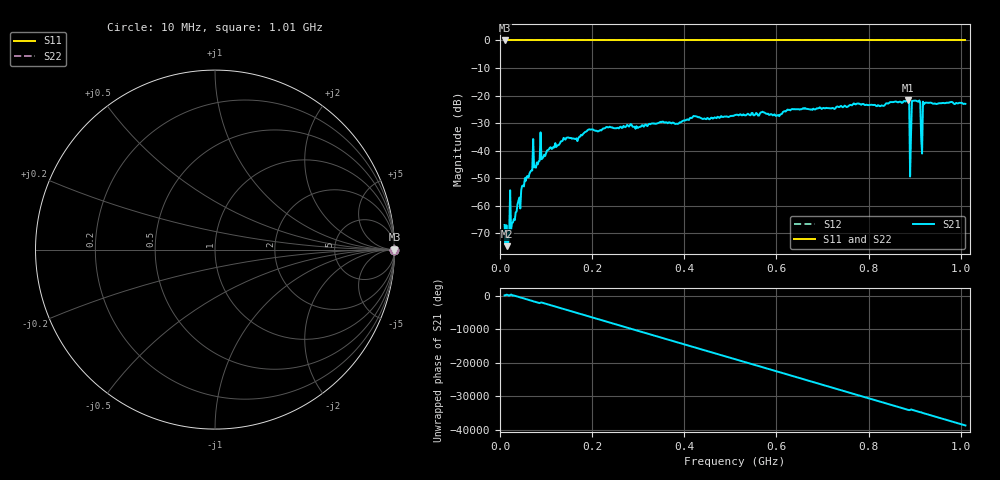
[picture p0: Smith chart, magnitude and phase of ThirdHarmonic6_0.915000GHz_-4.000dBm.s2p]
! 8/16/2025 5:54:59 AM
! C:\ANRITSUVNA\TEMP\TEMP.S2P
! CHANNEL.1
! TR.MEASUREMENT
! RAW.DATA
! RF.CORRECTION.OFF
! AVERAGING.OFF
! IF.BANDWIDTH: 5KHZ
! SWEEPTYPE:  FREQ.SWEEP(Linear)
! Reference Plane Port Info
! PORT:  PORT1  PORT2
! DISTANCE:  0  m  0  m
! TIME:  0  s  0  s
! PHASE.OFFSET:  0  deg.  0  deg.
! LOSS:  0  dB  0  dB
! REF.LOSS:  0  dB  0  dB
! REF.FREQ:  0  Hz  0  Hz
! Power Info
! POWER:  -20  dBm  -20  dBm
! EFF.POWER:  -20  dBm  -20  dBm
! SOURCE.ATTEN:  0  dB  0  dB
! TEST.ATTEN:  0  dB  0  dB
# GHZ S RI R 50.0
! FREQ.GHZ  S11RE  S11IM  S21RE  S21IM  S12RE  S12IM  S22RE  S22IM
!; PortSelection: Port_12
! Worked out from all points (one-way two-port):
!   501 points, 10 MHz to 1.01 GHz, reference 50 ohm
!   highest |S21| = -21.69 dB at 886 MHz (marker M1); lowest = -74.7 dB at 16 MHz (marker M2)
!   lowest |S11| = 0.0 dB at 10 MHz (marker M3)
!   |S11| at or under -10 dB: nowhere
!   |S22| runs from 0.0 to 0.0 dB; largest |S21 - S12| = 1.1
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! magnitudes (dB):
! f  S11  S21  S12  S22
! 10 MHz  0.0  -67.0  0.0  0.0
! 16 MHz  0.0  -74.7  0.0  0.0
! 18 MHz  0.0  -73.0  0.0  0.0
! 26 MHz  0.0  -66.3  0.0  0.0
! 28 MHz  0.0  -66.1  0.0  0.0
! 50 MHz  0.0  -52.7  0.0  0.0
! 68 MHz  0.0  -47.2  0.0  0.0
! 136 MHz  0.0  -36.4  0.0  0.0
! 178 MHz  0.0  -34.5  0.0  0.0
! 344 MHz  0.0  -30.0  0.0  0.0
! 510 MHz  0.0  -27.1  0.0  0.0
! 678 MHz  0.0  -25.2  0.0  0.0
! 844 MHz  0.0  -22.8  0.0  0.0
! 884 MHz  0.0  -21.7  0.0  0.0
! 886 MHz  0.0  -21.7  0.0  0.0
! 894 MHz  0.0  -22.0  0.0  0.0
! 898 MHz  0.0  -21.9  0.0  0.0
! 908 MHz  0.0  -22.3  0.0  0.0
! 912 MHz  0.0  -22.5  0.0  0.0
! 918 MHz  0.0  -22.2  0.0  0.0
! 922 MHz  0.0  -22.8  0.0  0.0
! 1.01 GHz  0.0  -23.0  0.0  0.0
